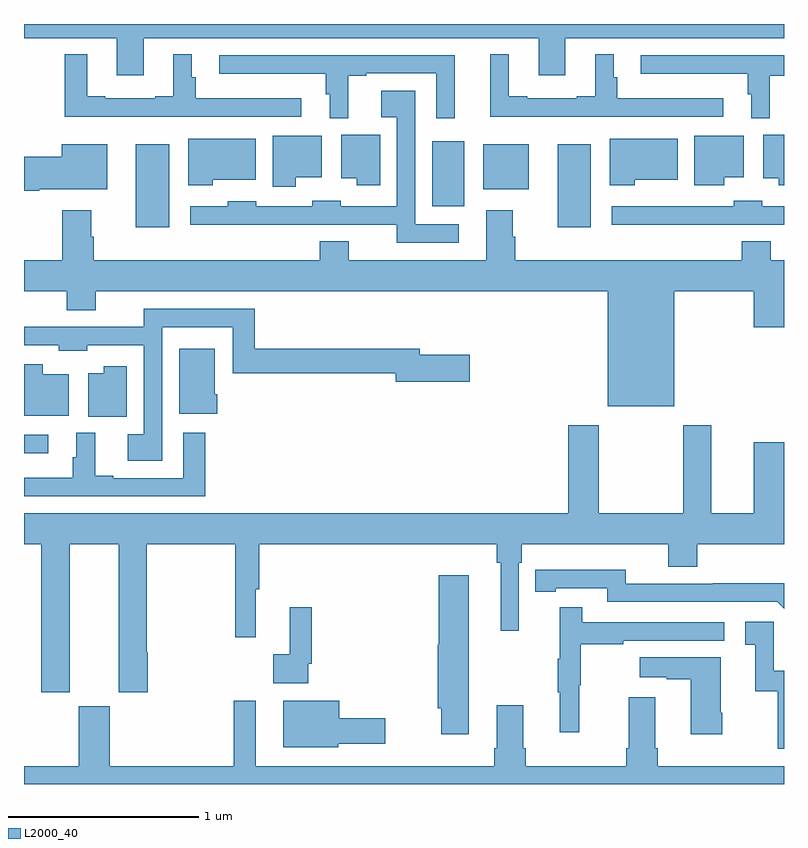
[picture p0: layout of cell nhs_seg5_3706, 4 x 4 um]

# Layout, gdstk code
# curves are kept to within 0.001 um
import gdstk
lib = gdstk.Library(unit=1e-6, precision=1e-09)
def R(c, l, rs):  # rectangles x0, y0, x1, y1
    for r in rs: c.add(gdstk.rectangle(r[:2], r[2:], *l))
def P(c, l, *ps):  # polygons
    for p in ps: c.add(gdstk.Polygon(p, *l))
L2000_40 = (2000, 40)

nhs_seg5_3706 = lib.new_cell('nhs_seg5_3706')
R(nhs_seg5_3706, L2000_40, [(329,890.54,329.128,890.637), (329.588,891.728,329.764,892.165), (331.808,891.728,331.984,892.165), (331.148,891.839,331.318,892.183), (331.418,891.929,331.657,892.165)])
P(nhs_seg5_3706, L2000_40, [(329.629,892.724),(331.709,892.724),(331.709,892.53),(331.849,892.53),(331.849,892.724),(333,892.724),(333,892.799),(329,892.799),(329,892.724),(329.489,892.724),(329.489,892.53),(329.629,892.53)],
  [(331.98,892.311),(332.68,892.311),(332.68,892.408),(332.123,892.408),(332.123,892.518),(332.104,892.518),(332.104,892.639),(332.006,892.639),(332.006,892.42),(331.91,892.42),(331.91,892.407),(331.648,892.407),(331.648,892.42),(331.552,892.42),(331.552,892.639),(331.454,892.639),(331.454,892.31),(331.98,892.31)],
  [(329.76,892.311),(330.46,892.311),(330.46,892.408),(329.903,892.408),(329.903,892.518),(329.884,892.518),(329.884,892.639),(329.786,892.639),(329.786,892.42),(329.69,892.42),(329.69,892.407),(329.428,892.407),(329.428,892.42),(329.332,892.42),(329.332,892.639),(329.215,892.639),(329.215,892.31),(329.76,892.31)],
  [(332.926,892.527),(333,892.527),(333,892.635),(332.247,892.635),(332.247,892.538),(332.809,892.538),(332.809,892.428),(332.828,892.428),(332.828,892.302),(332.926,892.302)],
  [(330.706,892.527),(330.802,892.527),(330.802,892.539),(331.17,892.539),(331.17,892.302),(331.268,892.302),(331.268,892.635),(330.027,892.635),(330.027,892.538),(330.589,892.538),(330.589,892.428),(330.608,892.428),(330.608,892.302),(330.706,892.302)],
  [(331.288,891.744),(331.059,891.744),(331.059,892.447),(330.879,892.447),(330.879,892.307),(330.963,892.307),(330.963,891.84),(330.666,891.84),(330.666,891.868),(330.516,891.868),(330.516,891.84),(330.222,891.84),(330.222,891.865),(330.072,891.865),(330.072,891.84),(329.874,891.84),(329.874,891.743),(330.961,891.743),(330.961,891.648),(331.288,891.648)],
  [(333,892.216),(332.891,892.216),(332.891,891.986),(332.972,891.986),(332.972,891.95),(333,891.95)],
  [(330.874,892.216),(330.671,892.216),(330.671,891.986),(330.752,891.986),(330.752,891.95),(330.874,891.95)],
  [(330.43,891.992),(330.568,891.992),(330.568,892.21),(330.308,892.21),(330.308,891.942),(330.43,891.942)],
  [(332.685,891.992),(332.788,891.992),(332.788,892.21),(332.528,892.21),(332.528,891.95),(332.685,891.95)],
  [(332.214,891.98),(332.44,891.98),(332.44,892.195),(332.084,892.195),(332.084,891.95),(332.214,891.95)],
  [(329.994,891.98),(330.22,891.98),(330.22,892.195),(329.864,892.195),(329.864,891.95),(329.994,891.95)],
  [(329.08,891.929),(329.437,891.929),(329.437,892.165),(329.198,892.165),(329.198,892.1),(329,892.1),(329,891.922),(329.08,891.922)],
  [(333,891.84),(332.886,891.84),(332.886,891.868),(332.736,891.868),(332.736,891.84),(332.432,891.84),(332.432,891.841),(332.094,891.841),(332.094,891.743),(333,891.743)],
  [(332.422,891.392),(332.84,891.392),(332.84,891.204),(333,891.204),(333,891.556),(332.929,891.556),(332.929,891.655),(332.777,891.655),(332.777,891.556),(331.586,891.556),(331.586,891.68),(331.573,891.68),(331.573,891.82),(331.433,891.82),(331.433,891.556),(330.709,891.556),(330.709,891.655),(330.557,891.655),(330.557,891.556),(329.366,891.556),(329.366,891.68),(329.353,891.68),(329.353,891.82),(329.201,891.82),(329.201,891.556),(329,891.556),(329,891.392),(329.225,891.392),(329.225,891.293),(329.377,891.293),(329.377,891.392),(332.072,891.392),(332.072,890.786),(332.422,890.786)],
  [(329.727,891.204),(330.099,891.204),(330.099,890.962),(330.956,890.962),(330.956,890.915),(331.345,890.915),(331.345,891.057),(331.084,891.057),(331.084,891.091),(330.215,891.091),(330.215,891.3),(329.629,891.3),(329.629,891.206),(329,891.206),(329,891.108),(329.184,891.108),(329.184,891.08),(329.334,891.08),(329.334,891.108),(329.631,891.108),(329.631,890.641),(329.547,890.641),(329.547,890.501),(329.727,890.501)],
  [(330.017,890.851),(330.004,890.851),(330.004,891.091),(329.816,891.091),(329.816,890.747),(330.017,890.747)],
  [(329.236,890.956),(329.098,890.956),(329.098,891.007),(329,891.007),(329,890.738),(329.236,890.738)],
  [(329.542,890.998),(329.42,890.998),(329.42,890.962),(329.339,890.962),(329.339,890.732),(329.542,890.732)],
  [(329.242,890.06),(329.498,890.06),(329.498,889.281),(329.651,889.281),(329.651,889.493),(329.646,889.493),(329.646,890.06),(330.111,890.06),(330.111,889.572),(330.221,889.572),(330.221,889.824),(330.239,889.824),(330.239,890.06),(331.489,890.06),(331.489,889.964),(331.508,889.964),(331.508,889.605),(331.605,889.605),(331.605,889.964),(331.619,889.964),(331.619,890.06),(332.39,890.06),(332.39,889.943),(332.543,889.943),(332.543,890.06),(333,890.06),(333,890.599),(332.84,890.599),(332.84,890.224),(332.617,890.224),(332.617,890.686),(332.47,890.686),(332.47,890.224),(332.025,890.224),(332.025,890.686),(331.865,890.686),(331.865,890.224),(329,890.224),(329,890.06),(329.09,890.06),(329.09,889.281),(329.242,889.281)],
  [(329.954,890.647),(329.838,890.647),(329.838,890.409),(329.47,890.409),(329.47,890.422),(329.374,890.422),(329.374,890.647),(329.276,890.647),(329.276,890.52),(329.257,890.52),(329.257,890.41),(329,890.41),(329,890.313),(329.954,890.313)],
  [(333,889.856),(332.626,889.856),(332.626,889.854),(332.166,889.854),(332.166,889.927),(331.69,889.926),(331.69,889.81),(331.798,889.81),(331.798,889.83),(332.07,889.83),(332.07,889.758),(332.964,889.758),(333,889.722)],
  [(331.342,889.897),(331.184,889.897),(331.184,889.533),(331.178,889.533),(331.178,889.197),(331.196,889.197),(331.196,889.062),(331.342,889.062)],
  [(331.922,889.32),(331.93,889.32),(331.93,889.534),(332.153,889.534),(332.153,889.554),(332.686,889.554),(332.686,889.65),(331.937,889.65),(331.937,889.729),(331.82,889.729),(331.82,889.457),(331.809,889.457),(331.809,889.283),(331.82,889.283),(331.82,889.071),(331.922,889.071)],
  [(330.495,889.432),(330.515,889.432),(330.515,889.729),(330.398,889.729),(330.398,889.481),(330.312,889.481),(330.312,889.328),(330.495,889.328)],
  [(333,889.395),(332.946,889.395),(332.946,889.654),(332.796,889.654),(332.796,889.533),(332.849,889.533),(332.849,889.287),(332.967,889.287),(332.967,888.984),(333,888.984)],
  [(332.676,889.174),(332.668,889.174),(332.668,889.465),(332.241,889.465),(332.241,889.361),(332.384,889.361),(332.384,889.351),(332.51,889.351),(332.51,889.062),(332.676,889.062)],
  [(333,888.892),(332.336,888.892),(332.336,888.988),(332.323,888.988),(332.323,889.255),(332.183,889.255),(332.183,888.988),(332.171,888.988),(332.171,888.892),(331.64,888.892),(331.64,888.988),(331.627,888.988),(331.627,889.213),(331.487,889.213),(331.487,888.988),(331.475,888.988),(331.475,888.892),(330.22,888.892),(330.22,889.237),(330.103,889.237),(330.103,888.892),(329.452,888.892),(329.452,889.209),(329.288,889.209),(329.288,888.892),(329,888.892),(329,888.799),(333,888.799)],
  [(330.654,889.01),(330.901,889.01),(330.901,889.145),(330.658,889.145),(330.658,889.237),(330.365,889.237),(330.365,888.992),(330.654,888.992)])

lib.write_gds('nhs_seg5_3706.gds')
